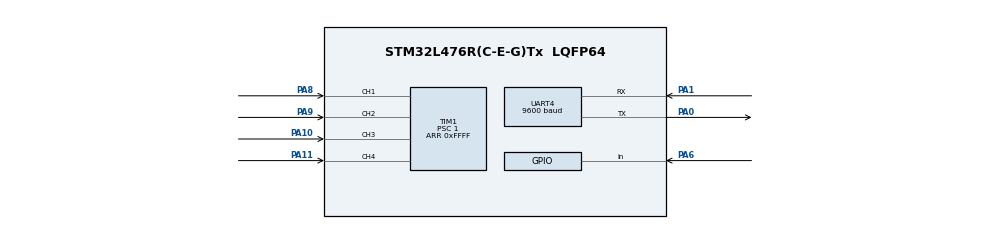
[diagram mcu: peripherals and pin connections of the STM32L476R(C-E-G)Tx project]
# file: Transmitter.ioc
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Mcu.Family=STM32L4
Mcu.Name=STM32L476R(C-E-G)Tx
Mcu.Package=LQFP64
NVIC.PriorityGroup=NVIC_PRIORITYGROUP_4
NVIC.TIM1_CC_IRQn=true\:0\:0\:false\:false\:true\:true
NVIC.TIM6_DAC_IRQn=true\:0\:0\:false\:false\:true\:true
NVIC.UART4_IRQn=true\:0\:0\:false\:false\:true\:true
PA0.Mode=Asynchronous
PA0.Signal=UART4_TX
PA1.Mode=Asynchronous
PA1.Signal=UART4_RX
PA10.Signal=S_TIM1_CH3
PA11.Signal=S_TIM1_CH4
PA6.Signal=GPIO_Input
PA8.Signal=S_TIM1_CH1
PA9.Signal=S_TIM1_CH2
PH0-OSC_IN\ (PH0).Mode=HSE-External-Oscillator
PH0-OSC_IN\ (PH0).Signal=RCC_OSC_IN
PH1-OSC_OUT\ (PH1).Mode=HSE-External-Oscillator
PH1-OSC_OUT\ (PH1).Signal=RCC_OSC_OUT
ProjectManager.HeapSize=0x200
ProjectManager.StackSize=0x400
ProjectManager.TargetToolchain=MDK-ARM V5
RCC.HSE_VALUE=8000000
RCC.HSI_VALUE=16000000
RCC.LSE_VALUE=32768
RCC.MSI_VALUE=4000000
RCC.VCOOutputFreq_Value=32000000
SH.S_TIM1_CH1.0=TIM1_CH1,TriggerSource_TI1FP1
SH.S_TIM1_CH1.1=TIM1_CH1,Input_Capture1_from_TI1
SH.S_TIM1_CH2.0=TIM1_CH2,Input_Capture2_from_TI2
SH.S_TIM1_CH3.0=TIM1_CH3,Input_Capture3_from_TI3
SH.S_TIM1_CH4.0=TIM1_CH4,Input_Capture4_from_TI4
TIM1.Channel-Input_Capture1_from_TI1=TIM_CHANNEL_1
TIM1.Channel-Input_Capture2_from_TI2=TIM_CHANNEL_2
TIM1.Channel-Input_Capture3_from_TI3=TIM_CHANNEL_3
TIM1.Channel-Input_Capture4_from_TI4=TIM_CHANNEL_4
TIM1.ICPolarity_CH2=TIM_INPUTCHANNELPOLARITY_FALLING
TIM1.ICPolarity_CH4=TIM_INPUTCHANNELPOLARITY_FALLING
TIM1.Period=0xFFFF
TIM1.Prescaler=1
TIM1.TIM_MasterOutputTrigger=TIM_TRGO_UPDATE
TIM1.TIM_MasterOutputTrigger2=TIM_TRGO2_UPDATE
TIM6.Period=51
TIM6.Prescaler=7
UART4.BaudRate=9600
VP_TIM1_VS_ClockSourceINT.Mode=Internal
VP_TIM1_VS_ControllerModeReset.Mode=Reset Mode
VP_TIM6_VS_ClockSourceINT.Mode=Enable_Timer
board=custom

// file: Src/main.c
/* USER CODE BEGIN Header */
/**
  ******************************************************************************
  * @file           : main.c
  * @brief          : Main program body
  ******************************************************************************
  ** This notice applies to any and all portions of this file
  * that are not between comment pairs USER CODE BEGIN and
  * USER CODE END. Other portions of this file, whether
  * inserted by the user or by software development tools
  * are owned by their respective copyright owners.
  *
  * COPYRIGHT(c) 2019 STMicroelectronics
  *
  * Redistribution and use in source and binary forms, with or without modification,
  * are permitted provided that the following conditions are met:
  *   1. Redistributions of source code must retain the above copyright notice,
  *      this list of conditions and the following disclaimer.
  *   2. Redistributions in binary form must reproduce the above copyright notice,
  *      this list of conditions and the following disclaimer in the documentation
  *      and/or other materials provided with the distribution.
  *   3. Neither the name of STMicroelectronics nor the names of its contributors
  *      may be used to endorse or promote products derived from this software
  *      without specific prior written permission.
  *
  * THIS SOFTWARE IS PROVIDED BY THE COPYRIGHT HOLDERS AND CONTRIBUTORS "AS IS"
  * AND ANY EXPRESS OR IMPLIED WARRANTIES, INCLUDING, BUT NOT LIMITED TO, THE
  * IMPLIED WARRANTIES OF MERCHANTABILITY AND FITNESS FOR A PARTICULAR PURPOSE ARE
  * DISCLAIMED. IN NO EVENT SHALL THE COPYRIGHT HOLDER OR CONTRIBUTORS BE LIABLE
  * FOR ANY DIRECT, INDIRECT, INCIDENTAL, SPECIAL, EXEMPLARY, OR CONSEQUENTIAL
  * DAMAGES (INCLUDING, BUT NOT LIMITED TO, PROCUREMENT OF SUBSTITUTE GOODS OR
  * SERVICES; LOSS OF USE, DATA, OR PROFITS; OR BUSINESS INTERRUPTION) HOWEVER
  * CAUSED AND ON ANY THEORY OF LIABILITY, WHETHER IN CONTRACT, STRICT LIABILITY,
  * OR TORT (INCLUDING NEGLIGENCE OR OTHERWISE) ARISING IN ANY WAY OUT OF THE USE
  * OF THIS SOFTWARE, EVEN IF ADVISED OF THE POSSIBILITY OF SUCH DAMAGE.
  *
  ******************************************************************************
  */
/* USER CODE END Header */

#include "main.h"

TIM_HandleTypeDef htim1;
TIM_HandleTypeDef htim6;

UART_HandleTypeDef huart4;
/* USER CODE BEGIN PV */
uint8_t encoded[2] = {0x00, 0x00};
uint8_t data[8] = {0, 0, 0, 0, 0, 0, 0, 0};
uint8_t i = 0, j = 0;
uint8_t tmp = 0;
uint8_t decoded, count, pattern, rx[2] = {0x00, 0x00}, x = 0, k, l, v, b, c;
uint16_t msg, up, down, left, right, adc_output, prevData = 0;
uint16_t captures1[2], frequency1, diffCapture1, DutyCycle1 = 0x00, ccr1, DUTY;
uint16_t captures2[2], frequency2, diffCapture2, DutyCycle2 = 0x00;
uint16_t Capture, COUNT, Freq;
uint32_t clk1, clk2, clk3, rx_bit, rx_data, r[1] = {1};
uint32_t dac_output, dac_value;
uint8_t chk = 0, f = 0, msg_tmp = 0;
uint32_t PERIOD = 19999;
uint8_t frame[5] = {0x11, 0, 0, 0, 0};
uint16_t prevX, prevDC1, prevDC2;
/* USER CODE END PV */

void SystemClock_Config(void);
static void MX_GPIO_Init(void);
static void MX_UART4_Init(void);
static void MX_TIM6_Init(void);
static void MX_TIM1_Init(void);
/* USER CODE BEGIN PFP */
static void UART_encode(uint16_t var);
static void create(void);
/* USER CODE END PFP */

/* USER CODE BEGIN 0 */
static void UART_encode(uint16_t var)
{
  tmp = var;
  for (i = 0; i < 2; i++)
  {
    encoded[i] = 0;
    for (j = 0; j < 4; j++)
    {
      encoded[i] >>= 2;
      if (tmp & 0x01)
        encoded[i] |= 0x40;
      else
        encoded[i] |= 0x80;
      tmp >>= 1;
    }
  }
}

void HAL_TIM_PeriodElapsedCallback(TIM_HandleTypeDef *htim)
{
  count++;
  if (htim->Instance == TIM6)
  {
    if (msg_tmp != 0)
    {
      v++;
      msg_tmp >>= 1;
      if (msg_tmp & 0x01)
        HAL_GPIO_WritePin(GPIOA, GPIO_PIN_5, GPIO_PIN_SET);
      else
        HAL_GPIO_WritePin(GPIOA, GPIO_PIN_5, GPIO_PIN_RESET);
    }
  }
  /* Uncomment for checking time period*/
  /*
		if(count%2==0)
			HAL_GPIO_WritePin(GPIOC,GPIO_PIN_5,GPIO_PIN_SET);
		else
			HAL_GPIO_WritePin(GPIOC,GPIO_PIN_5,GPIO_PIN_RESET);
	*/
}

void HAL_TIM_IC_CaptureCallback(TIM_HandleTypeDef *htim)
{
  if (htim->Channel == HAL_TIM_ACTIVE_CHANNEL_1)
  {
    Capture = HAL_TIM_ReadCapturedValue(&htim1, TIM_CHANNEL_1);
    COUNT = HAL_RCC_GetPCLK2Freq() / (htim1.Instance->PSC + 1);
    Freq = COUNT / Capture;

    //if(htim->Channel==HAL_TIM_ACTIVE_CHANNEL_1)

    if (captures1[1] >= captures1[0])
      diffCapture1 = captures1[1] - captures1[0];
    else
      diffCapture1 = (htim1.Instance->ARR - captures1[0]) + captures1[1];

    frequency1 = HAL_RCC_GetPCLK1Freq() / (htim1.Instance->PSC + 1);
    frequency1 = (float)frequency1 / diffCapture1;

    /* Get the Input Capture value */
    captures1[0] = HAL_TIM_ReadCapturedValue(htim, TIM_CHANNEL_1);
    captures1[1] = HAL_TIM_ReadCapturedValue(htim, TIM_CHANNEL_2);
    ccr1 = TIM1->CCR1;

    if (captures1[0] != 0)
    {
      /* Duty cycle computation */
      DutyCycle1 = (captures1[1] * 100) / captures1[0];
      frequency1 = (HAL_RCC_GetHCLKFreq()) / captures1[0];
    }
    else
    {
      DutyCycle1 = 0;
      frequency1 = 0;
    }
  }
}
/* USER CODE END 0 */

int main(void)
{

  /* MCU Configuration--------------------------------------------------------*/

  /* Reset of all peripherals, Initializes the Flash interface and the Systick. */
  HAL_Init();

  /* Configure the system clock */
  SystemClock_Config();

  /* Initialize all configured peripherals */
  MX_GPIO_Init();
  MX_UART4_Init();
  MX_TIM6_Init();
  MX_TIM1_Init();

  /* Infinite loop */
  /* USER CODE BEGIN WHILE */
  HAL_TIM_IC_Start_IT(&htim1, TIM_CHANNEL_1);
  HAL_TIM_IC_Start_IT(&htim1, TIM_CHANNEL_2);
  HAL_TIM_IC_Start_IT(&htim1, TIM_CHANNEL_3);
  HAL_TIM_IC_Start_IT(&htim1, TIM_CHANNEL_4);
  UART_encode(DutyCycle1);
  while (1)
  {
    /* USER CODE END WHILE */
    /* USER CODE BEGIN 3 */
    UART_encode(DutyCycle1);
    HAL_UART_Transmit_IT(&huart4, (uint8_t *)encoded, 2);
    prevDC1 = DutyCycle1;
  }
  /* USER CODE END 3 */
}

void SystemClock_Config(void)
{
  RCC_OscInitTypeDef RCC_OscInitStruct = {0};
  RCC_ClkInitTypeDef RCC_ClkInitStruct = {0};
  RCC_PeriphCLKInitTypeDef PeriphClkInit = {0};

  /**Initializes the CPU, AHB and APB busses clocks
  */
  RCC_OscInitStruct.OscillatorType = RCC_OSCILLATORTYPE_MSI;
  RCC_OscInitStruct.MSIState = RCC_MSI_ON;
  RCC_OscInitStruct.MSICalibrationValue = 0;
  RCC_OscInitStruct.MSIClockRange = RCC_MSIRANGE_6;
  RCC_OscInitStruct.PLL.PLLState = RCC_PLL_NONE;
  if (HAL_RCC_OscConfig(&RCC_OscInitStruct) != HAL_OK)
  {
    Error_Handler();
  }
  /**Initializes the CPU, AHB and APB busses clocks
  */
  RCC_ClkInitStruct.ClockType = RCC_CLOCKTYPE_HCLK | RCC_CLOCKTYPE_SYSCLK | RCC_CLOCKTYPE_PCLK1 | RCC_CLOCKTYPE_PCLK2;
  RCC_ClkInitStruct.SYSCLKSource = RCC_SYSCLKSOURCE_MSI;
  RCC_ClkInitStruct.AHBCLKDivider = RCC_SYSCLK_DIV1;
  RCC_ClkInitStruct.APB1CLKDivider = RCC_HCLK_DIV1;
  RCC_ClkInitStruct.APB2CLKDivider = RCC_HCLK_DIV1;

  if (HAL_RCC_ClockConfig(&RCC_ClkInitStruct, FLASH_LATENCY_0) != HAL_OK)
  {
    Error_Handler();
  }
  PeriphClkInit.PeriphClockSelection = RCC_PERIPHCLK_UART4;
  PeriphClkInit.Uart4ClockSelection = RCC_UART4CLKSOURCE_PCLK1;
  if (HAL_RCCEx_PeriphCLKConfig(&PeriphClkInit) != HAL_OK)
  {
    Error_Handler();
  }
  /**Configure the main internal regulator output voltage
  */
  if (HAL_PWREx_ControlVoltageScaling(PWR_REGULATOR_VOLTAGE_SCALE1) != HAL_OK)
  {
    Error_Handler();
  }
}

static void MX_TIM1_Init(void)
{
  TIM_ClockConfigTypeDef sClockSourceConfig = {0};
  TIM_SlaveConfigTypeDef sSlaveConfig = {0};
  TIM_MasterConfigTypeDef sMasterConfig = {0};
  TIM_IC_InitTypeDef sConfigIC = {0};
  htim1.Instance = TIM1;
  htim1.Init.Prescaler = 1;
  htim1.Init.CounterMode = TIM_COUNTERMODE_UP;
  htim1.Init.Period = 0xFFFF;
  htim1.Init.ClockDivision = TIM_CLOCKDIVISION_DIV1;
  htim1.Init.RepetitionCounter = 0;
  htim1.Init.AutoReloadPreload = TIM_AUTORELOAD_PRELOAD_DISABLE;
  if (HAL_TIM_Base_Init(&htim1) != HAL_OK)
  {
    Error_Handler();
  }
  sClockSourceConfig.ClockSource = TIM_CLOCKSOURCE_INTERNAL;
  if (HAL_TIM_ConfigClockSource(&htim1, &sClockSourceConfig) != HAL_OK)
  {
    Error_Handler();
  }
  if (HAL_TIM_IC_Init(&htim1) != HAL_OK)
  {
    Error_Handler();
  }
  sSlaveConfig.SlaveMode = TIM_SLAVEMODE_RESET;
  sSlaveConfig.InputTrigger = TIM_TS_TI1FP1;
  sSlaveConfig.TriggerPolarity = TIM_INPUTCHANNELPOLARITY_RISING;
  sSlaveConfig.TriggerFilter = 0;
  if (HAL_TIM_SlaveConfigSynchronization(&htim1, &sSlaveConfig) != HAL_OK)
  {
    Error_Handler();
  }
  sMasterConfig.MasterOutputTrigger = TIM_TRGO_UPDATE;
  sMasterConfig.MasterOutputTrigger2 = TIM_TRGO2_UPDATE;
  sMasterConfig.MasterSlaveMode = TIM_MASTERSLAVEMODE_DISABLE;
  if (HAL_TIMEx_MasterConfigSynchronization(&htim1, &sMasterConfig) != HAL_OK)
  {
    Error_Handler();
  }
  sConfigIC.ICPolarity = TIM_INPUTCHANNELPOLARITY_RISING;
  sConfigIC.ICSelection = TIM_ICSELECTION_DIRECTTI;
  sConfigIC.ICPrescaler = TIM_ICPSC_DIV1;
  sConfigIC.ICFilter = 0;
  if (HAL_TIM_IC_ConfigChannel(&htim1, &sConfigIC, TIM_CHANNEL_1) != HAL_OK)
  {
    Error_Handler();
  }
  sConfigIC.ICPolarity = TIM_INPUTCHANNELPOLARITY_FALLING;
  if (HAL_TIM_IC_ConfigChannel(&htim1, &sConfigIC, TIM_CHANNEL_2) != HAL_OK)
  {
    Error_Handler();
  }
  sConfigIC.ICPolarity = TIM_INPUTCHANNELPOLARITY_RISING;
  if (HAL_TIM_IC_ConfigChannel(&htim1, &sConfigIC, TIM_CHANNEL_3) != HAL_OK)
  {
    Error_Handler();
  }
  sConfigIC.ICPolarity = TIM_INPUTCHANNELPOLARITY_FALLING;
  if (HAL_TIM_IC_ConfigChannel(&htim1, &sConfigIC, TIM_CHANNEL_4) != HAL_OK)
  {
    Error_Handler();
  }
}

static void MX_TIM6_Init(void)
{
  TIM_MasterConfigTypeDef sMasterConfig = {0};
  htim6.Instance = TIM6;
  htim6.Init.Prescaler = 7;
  htim6.Init.CounterMode = TIM_COUNTERMODE_UP;
  htim6.Init.Period = 51;
  htim6.Init.AutoReloadPreload = TIM_AUTORELOAD_PRELOAD_DISABLE;
  if (HAL_TIM_Base_Init(&htim6) != HAL_OK)
  {
    Error_Handler();
  }
  sMasterConfig.MasterOutputTrigger = TIM_TRGO_RESET;
  sMasterConfig.MasterSlaveMode = TIM_MASTERSLAVEMODE_DISABLE;
  if (HAL_TIMEx_MasterConfigSynchronization(&htim6, &sMasterConfig) != HAL_OK)
  {
    Error_Handler();
  }
}

static void MX_UART4_Init(void)
{
  huart4.Instance = UART4;
  huart4.Init.BaudRate = 9600;
  huart4.Init.WordLength = UART_WORDLENGTH_8B;
  huart4.Init.StopBits = UART_STOPBITS_1;
  huart4.Init.Parity = UART_PARITY_NONE;
  huart4.Init.Mode = UART_MODE_TX_RX;
  huart4.Init.HwFlowCtl = UART_HWCONTROL_NONE;
  huart4.Init.OverSampling = UART_OVERSAMPLING_16;
  huart4.Init.OneBitSampling = UART_ONE_BIT_SAMPLE_DISABLE;
  huart4.AdvancedInit.AdvFeatureInit = UART_ADVFEATURE_NO_INIT;
  if (HAL_UART_Init(&huart4) != HAL_OK)
  {
    Error_Handler();
  }
}

static void MX_GPIO_Init(void)
{
  GPIO_InitTypeDef GPIO_InitStruct = {0};

  /* GPIO Ports Clock Enable */
  __HAL_RCC_GPIOH_CLK_ENABLE();
  __HAL_RCC_GPIOA_CLK_ENABLE();

  /*Configure GPIO pin : PA6 */
  GPIO_InitStruct.Pin = GPIO_PIN_6;
  GPIO_InitStruct.Mode = GPIO_MODE_INPUT;
  GPIO_InitStruct.Pull = GPIO_NOPULL;
  HAL_GPIO_Init(GPIOA, &GPIO_InitStruct);
}

void Error_Handler(void)
{
}

/************************ (C) COPYRIGHT STMicroelectronics *****END OF FILE****/
